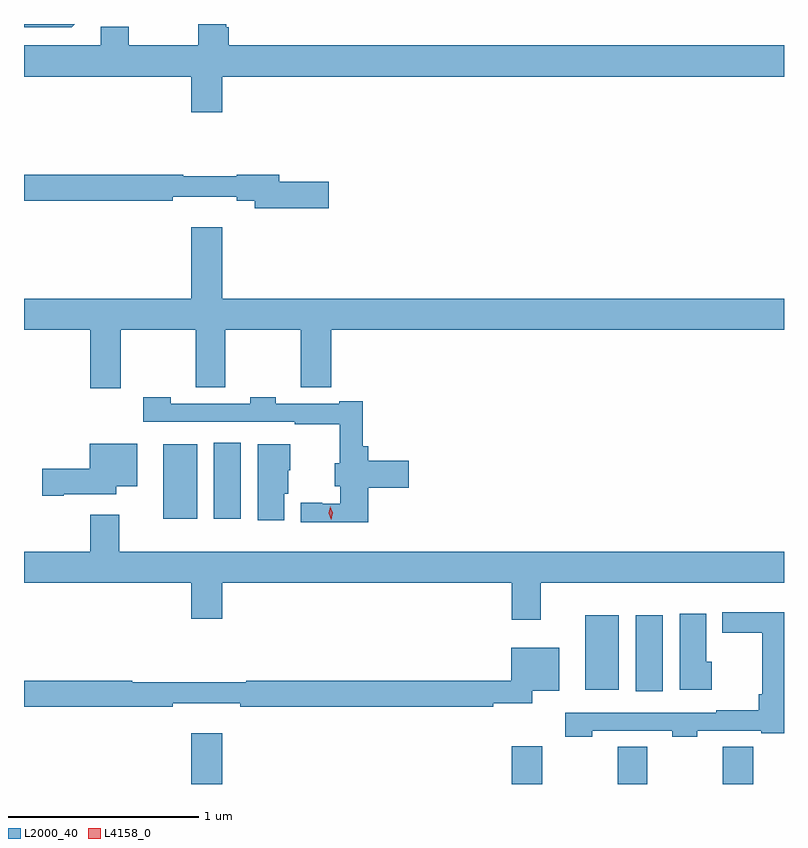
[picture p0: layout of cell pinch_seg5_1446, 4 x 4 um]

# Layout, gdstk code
import gdstk
lib = gdstk.Library(unit=1e-6, precision=1e-09)
def R(c, l, rs):  # rectangles x0, y0, x1, y1
    for r in rs: c.add(gdstk.rectangle(r[:2], r[2:], *l))
def P(c, l, *ps):  # polygons
    for p in ps: c.add(gdstk.Polygon(p, *l))
L2000_40 = (2000, 40)
L4158_0 = (4158, 0)

pinch_seg5_1446 = lib.new_cell('pinch_seg5_1446')
R(pinch_seg5_1446, L2000_40, [(212.96,877.013,213.124,877.279), (214.649,877.013,214.809,877.213), (215.206,877.013,215.36,877.208), (215.758,877.013,215.918,877.208), (215.3,877.5,215.443,877.9), (215.036,877.508,215.212,877.9), (212.813,878.408,212.992,878.8), (213.08,878.408,213.223,878.809)])
P(pinch_seg5_1446, L2000_40, [(213.124,880.736),(216.081,880.736),(216.081,880.9),(213.158,880.9),(213.158,880.996),(213.145,880.996),(213.145,881.013),(212.998,881.013),(212.998,880.9),(212.631,880.9),(212.631,880.999),(212.484,880.999),(212.484,880.9),(212.081,880.9),(212.081,880.736),(212.96,880.736),(212.96,880.548),(213.124,880.548)],
  [(212.349,881.013),(212.081,881.013),(212.081,880.995),(212.331,880.995)],
  [(213.685,880.184),(213.424,880.184),(213.424,880.22),(213.2,880.22),(213.2,880.213),(212.92,880.213),(212.92,880.22),(212.081,880.22),(212.081,880.084),(212.864,880.084),(212.864,880.103),(213.2,880.103),(213.2,880.084),(213.296,880.084),(213.296,880.042),(213.685,880.042)],
  [(213.124,879.943),(212.96,879.943),(212.96,879.568),(212.081,879.568),(212.081,879.404),(212.429,879.404),(212.429,879.096),(212.589,879.096),(212.589,879.404),(212.986,879.404),(212.986,879.1),(213.14,879.1),(213.14,879.404),(213.538,879.404),(213.538,879.1),(213.698,879.1),(213.698,879.404),(216.081,879.404),(216.081,879.568),(213.124,879.568)],
  [(213.893,878.572),(214.105,878.572),(214.105,878.714),(213.893,878.714),(213.893,878.791),(213.863,878.791),(213.863,879.028),(213.74,879.028),(213.74,879.015),(213.405,879.015),(213.405,879.048),(213.273,879.048),(213.273,879.015),(212.853,879.015),(212.853,879.048),(212.709,879.048),(212.709,878.919),(213.505,878.919),(213.505,878.907),(213.742,878.907),(213.742,878.701),(213.716,878.701),(213.716,878.579),(213.746,878.579),(213.746,878.487),(213.65,878.487),(213.65,878.492),(213.537,878.492),(213.537,878.39),(213.893,878.39)],
  [(212.29,878.537),(212.566,878.537),(212.566,878.579),(212.677,878.579),(212.677,878.803),(212.426,878.803),(212.426,878.672),(212.178,878.672),(212.178,878.53),(212.29,878.53)],
  [(213.451,878.541),(213.472,878.541),(213.472,878.664),(213.481,878.664),(213.481,878.8),(213.311,878.8),(213.311,878.4),(213.451,878.4)],
  [(214.801,878.072),(216.081,878.072),(216.081,878.236),(212.581,878.236),(212.581,878.431),(212.429,878.431),(212.429,878.236),(212.081,878.236),(212.081,878.072),(212.96,878.072),(212.96,877.884),(213.124,877.884),(213.124,878.072),(214.649,878.072),(214.649,877.878),(214.801,877.878)],
  [(215.073,877.293),(215.493,877.293),(215.493,877.261),(215.625,877.261),(215.625,877.293),(215.96,877.293),(215.96,877.281),(216.081,877.281),(216.081,877.918),(215.757,877.918),(215.757,877.809),(215.966,877.809),(215.966,877.486),(215.947,877.486),(215.947,877.402),(215.725,877.402),(215.725,877.389),(214.929,877.389),(214.929,877.261),(215.073,877.261)],
  [(215.701,877.656),(215.671,877.656),(215.671,877.909),(215.531,877.909),(215.531,877.508),(215.701,877.508)],
  [(212.864,877.439),(213.22,877.439),(213.22,877.42),(214.55,877.42),(214.55,877.438),(214.756,877.438),(214.756,877.505),(214.897,877.505),(214.897,877.729),(214.646,877.729),(214.646,877.556),(213.25,877.556),(213.25,877.549),(212.65,877.549),(212.65,877.556),(212.081,877.556),(212.081,877.42),(212.864,877.42)])
P(pinch_seg5_1446, L4158_0, [(213.697,878.405),(213.697,878.405),(213.686,878.439),(213.694,878.473),(213.694,878.474),(213.694,878.473),(213.705,878.44),(213.697,878.405)])

lib.write_gds('pinch_seg5_1446.gds')
